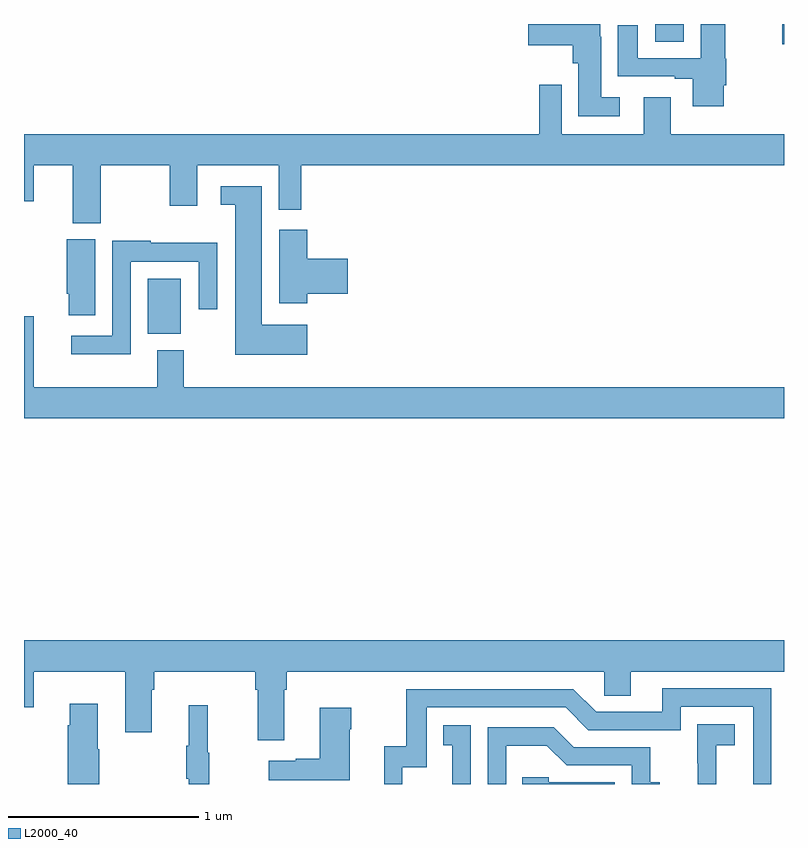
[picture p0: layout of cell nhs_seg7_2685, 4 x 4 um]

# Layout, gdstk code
import gdstk
lib = gdstk.Library(unit=1e-6, precision=1e-09)
def R(c, l, rs):  # rectangles x0, y0, x1, y1
    for r in rs: c.add(gdstk.rectangle(r[:2], r[2:], *l))
def P(c, l, *ps):  # polygons
    for p in ps: c.add(gdstk.Polygon(p, *l))
L2000_40 = (2000, 40)

nhs_seg7_2685 = lib.new_cell('nhs_seg7_2685')
R(nhs_seg7_2685, L2000_40, [(285.65,1026.371,285.826,1026.658), (288.99,1027.894,289,1028), (288.323,1027.906,288.472,1028)])
P(nhs_seg7_2685, L2000_40, [(288.136,1027.615),(288.037,1027.615),(288.037,1027.934),(288.033,1027.934),(288.033,1028),(287.655,1028),(287.655,1027.889),(287.888,1027.889),(287.888,1027.794),(287.918,1027.794),(287.918,1027.514),(288.136,1027.514)],
  [(288.682,1027.678),(288.695,1027.678),(288.695,1027.818),(288.69,1027.818),(288.69,1028),(288.563,1028),(288.563,1027.821),(288.229,1027.821),(288.229,1027.993),(288.125,1027.993),(288.125,1027.725),(288.425,1027.725),(288.425,1027.713),(288.521,1027.713),(288.521,1027.566),(288.682,1027.566)],
  [(289,1027.42),(288.403,1027.42),(288.403,1027.615),(288.263,1027.615),(288.263,1027.42),(287.829,1027.42),(287.829,1027.68),(287.713,1027.68),(287.713,1027.42),(285,1027.42),(285,1027.068),(285.052,1027.068),(285.052,1027.256),(285.257,1027.256),(285.257,1026.952),(285.405,1026.952),(285.405,1027.256),(285.766,1027.256),(285.766,1027.044),(285.913,1027.044),(285.913,1027.256),(286.34,1027.256),(286.34,1027.023),(286.459,1027.023),(286.459,1027.256),(289,1027.256)],
  [(286.492,1026.418),(286.252,1026.418),(286.252,1027.146),(286.035,1027.146),(286.035,1027.049),(286.112,1027.049),(286.112,1026.26),(286.492,1026.26)],
  [(286.49,1026.581),(286.705,1026.581),(286.705,1026.764),(286.49,1026.764),(286.49,1026.916),(286.343,1026.916),(286.343,1026.531),(286.49,1026.531)],
  [(285.376,1026.867),(285.224,1026.867),(285.224,1026.58),(285.236,1026.58),(285.236,1026.468),(285.376,1026.468)],
  [(285.561,1026.749),(285.921,1026.749),(285.921,1026.498),(286.017,1026.498),(286.017,1026.85),(285.668,1026.85),(285.668,1026.86),(285.465,1026.86),(285.465,1026.36),(285.249,1026.36),(285.249,1026.263),(285.561,1026.263)],
  [(289,1026.088),(285.841,1026.088),(285.841,1026.283),(285.701,1026.283),(285.701,1026.088),(285.052,1026.088),(285.052,1026.463),(285,1026.463),(285,1025.924),(289,1025.924)],
  [(285,1024.404),(285.052,1024.404),(285.052,1024.592),(285.533,1024.592),(285.533,1024.272),(285.673,1024.272),(285.673,1024.496),(285.686,1024.496),(285.686,1024.592),(286.217,1024.592),(286.217,1024.496),(286.229,1024.496),(286.229,1024.23),(286.369,1024.23),(286.369,1024.496),(286.382,1024.496),(286.382,1024.592),(288.054,1024.592),(288.054,1024.465),(288.193,1024.465),(288.193,1024.592),(289,1024.592),(289,1024.756),(285,1024.756)],
  [(286.992,1024.089),(287.121,1024.089),(287.121,1024.404),(287.85,1024.404),(287.97,1024.284),(288.456,1024.284),(288.456,1024.407),(288.837,1024.407),(288.837,1024),(288.933,1024),(288.933,1024.503),(288.359,1024.503),(288.359,1024.38),(288.012,1024.38),(287.892,1024.5),(287.013,1024.5),(287.013,1024.198),(286.895,1024.198),(286.895,1024),(286.992,1024)],
  [(285.396,1024.184),(285.388,1024.184),(285.388,1024.423),(285.242,1024.423),(285.242,1024.31),(285.23,1024.31),(285.23,1024),(285.396,1024)],
  [(285.976,1024.164),(285.968,1024.164),(285.968,1024.414),(285.866,1024.414),(285.866,1024.201),(285.855,1024.201),(285.855,1024.027),(285.866,1024.027),(285.866,1024),(285.976,1024)],
  [(286.714,1024.289),(286.722,1024.289),(286.722,1024.402),(286.556,1024.402),(286.556,1024.133),(286.43,1024.133),(286.43,1024.123),(286.287,1024.123),(286.287,1024.019),(286.714,1024.019)],
  [(288.644,1024.205),(288.742,1024.205),(288.742,1024.315),(288.544,1024.315),(288.544,1024.109),(288.545,1024.109),(288.545,1024),(288.644,1024)],
  [(287.352,1024.309),(287.206,1024.309),(287.206,1024.203),(287.255,1024.203),(287.255,1024),(287.352,1024)],
  [(287.538,1024.202),(287.752,1024.202),(287.856,1024.098),(288.198,1024.098),(288.198,1024),(288.346,1024),(288.346,1024.009),(288.297,1024.009),(288.297,1024.194),(287.893,1024.194),(287.788,1024.299),(287.442,1024.299),(287.442,1024),(287.538,1024)],
  [(288.108,1024.008),(287.763,1024.008),(287.763,1024.035),(287.623,1024.035),(287.623,1024),(288.108,1024)])

lib.write_gds('nhs_seg7_2685.gds')
